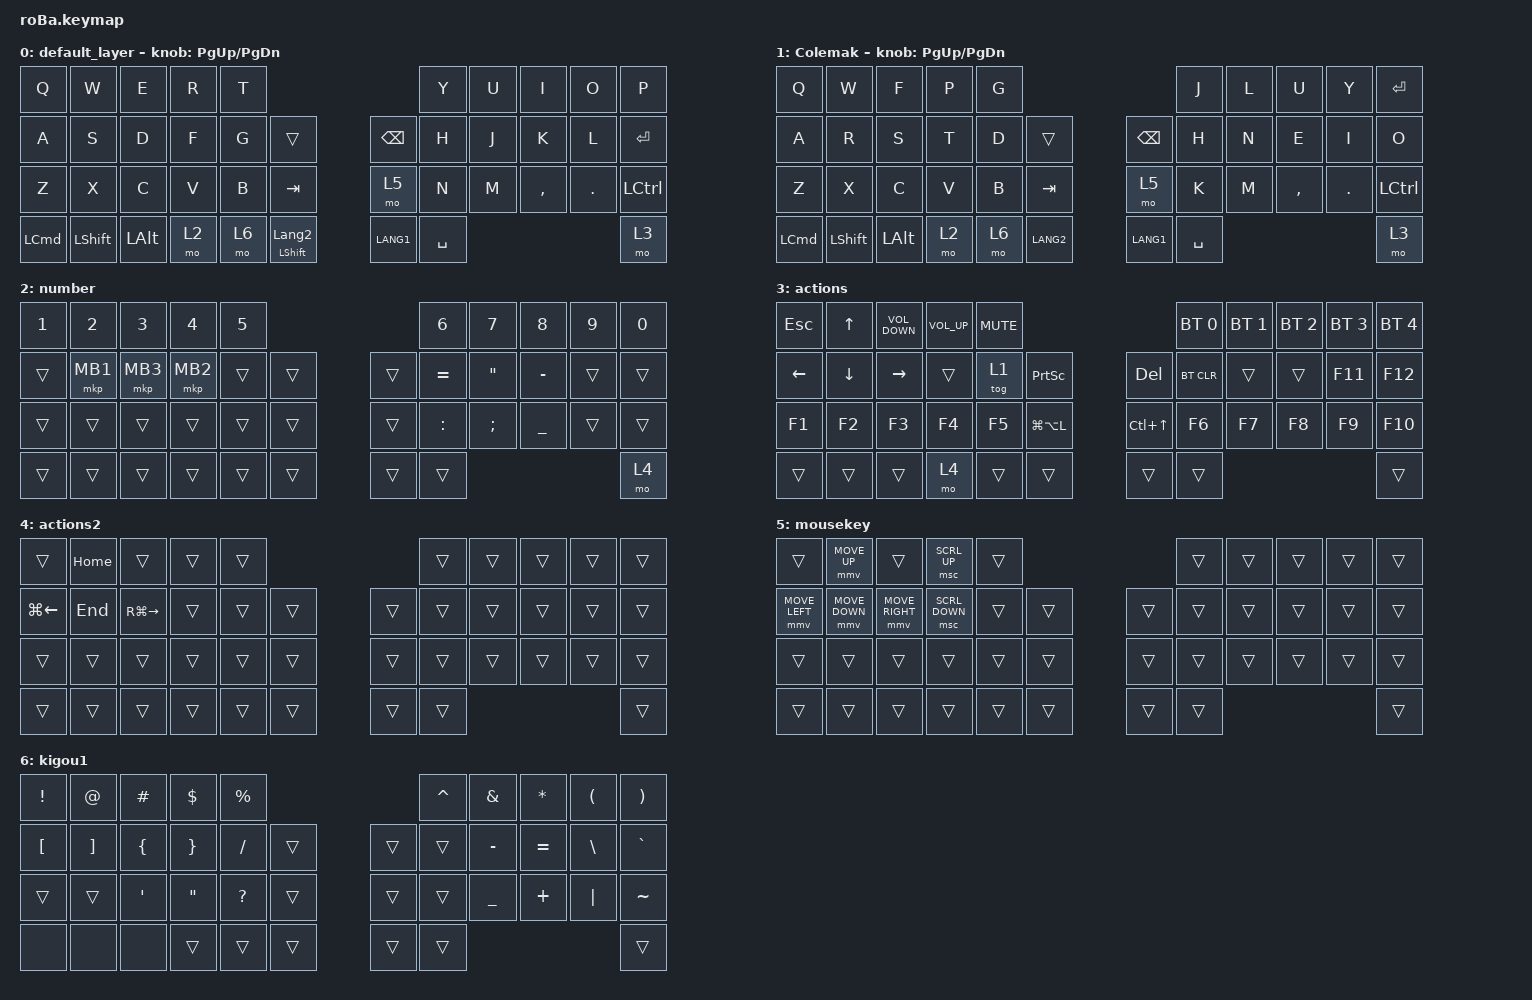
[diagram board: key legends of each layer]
#define ZMK_POINTING_DEFAULT_SCRL_VAL 20

#include <dt-bindings/zmk/mouse.h>
#include <behaviors.dtsi>
#include <dt-bindings/zmk/bt.h>
#include <dt-bindings/zmk/keys.h>
#include <dt-bindings/zmk/pointing.h>

#define MOUSE 99
#define SCROLL 99
#define NUM 99

&mt {
    flavor = "balanced";
    quick-tap-ms = <0>;
};

/ {
    combos { compatible = "zmk,combos"; };

    macros {
        to_layer_0: to_layer_0 {
            compatible = "zmk,behavior-macro-one-param";
            #binding-cells = <1>;
            bindings = <&to 0 &macro_param_1to1 &kp MACRO_PLACEHOLDER>;
            label = "TO_LAYER_0";
        };
    };

    behaviors {
        lt_to_layer_0: lt_to_layer_0 {
            compatible = "zmk,behavior-hold-tap";
            label = "LAYER_TAP_TO_0";
            bindings = <&mo>, <&to_layer_0>;

            #binding-cells = <2>;
            tapping-term-ms = <200>;
        };

        inc_dec_msc: inc_dec_msc {
            compatible = "zmk,behavior-sensor-rotate-var";
            label = "INC_DEC_MSC";
            #sensor-binding-cells = <2>;
            bindings = <&msc>, <&msc>;

            tap-ms = <0>;
        };
    };

    keymap {
        compatible = "zmk,keymap";

        default_layer {
            bindings = <
&kp Q             &kp W           &kp E         &kp R  &kp T                                                &kp Y      &kp U  &kp I      &kp O       &kp P
&kp A             &kp S           &kp D         &kp F  &kp G  &trans                         &kp BACKSPACE  &kp H      &kp J  &kp K      &kp L       &kp ENTER
&kp Z             &kp X           &kp C         &kp V  &kp B  &kp TAB                        &mo 5          &kp N      &kp M  &kp COMMA  &kp PERIOD  &kp LCTRL
&kp LEFT_COMMAND  &kp LEFT_SHIFT  &kp LEFT_ALT  &mo 2  &mo 6  &mt LEFT_SHIFT LANGUAGE_2      &kp LANG1      &kp SPACE                                &mo 3
            >;

            sensor-bindings = <&inc_dec_kp PAGE_UP PAGE_DOWN>;
        };

        Colemak {
            bindings = <
&kp Q             &kp W           &kp F         &kp P  &kp G                                &kp J      &kp L  &kp U      &kp Y       &kp ENTER
&kp A             &kp R           &kp S         &kp T  &kp D  &trans         &kp BACKSPACE  &kp H      &kp N  &kp E      &kp I       &kp O
&kp Z             &kp X           &kp C         &kp V  &kp B  &kp TAB        &mo 5          &kp K      &kp M  &kp COMMA  &kp PERIOD  &kp LCTRL
&kp LEFT_COMMAND  &kp LEFT_SHIFT  &kp LEFT_ALT  &mo 2  &mo 6  &kp LANG2      &kp LANG1      &kp SPACE                                &mo 3
            >;

            sensor-bindings = <&inc_dec_kp PAGE_UP PAGE_DOWN>;
        };

        number {
            bindings = <
&kp NUMBER_1  &kp NUMBER_2  &kp NUMBER_3  &kp NUMBER_4  &kp N5                      &kp NUMBER_6  &kp N7             &kp N8     &kp NUMBER_9  &kp NUMBER_0
&trans        &mkp MB1      &mkp MB3      &mkp MB2      &trans  &trans      &trans  &kp EQUAL     &kp DOUBLE_QUOTES  &kp MINUS  &trans        &trans
&trans        &trans        &trans        &trans        &trans  &trans      &trans  &kp COLON     &kp SEMI           &kp UNDER  &trans        &trans
&trans        &trans        &trans        &trans        &trans  &trans      &trans  &trans                                                    &mo 4
            >;
        };

        actions {
            bindings = <
&kp ESC         &kp UP_ARROW    &kp C_VOLUME_DOWN  &kp C_VOLUME_UP  &kp K_MUTE                                       &bt BT_SEL 0  &bt BT_SEL 1  &bt BT_SEL 2  &bt BT_SEL 3  &bt BT_SEL 4
&kp LEFT_ARROW  &kp DOWN_ARROW  &kp RIGHT          &trans           &tog 1      &kp PSCRN          &kp DELETE        &bt BT_CLR    &trans        &trans        &kp F11       &kp F12
&kp F1          &kp F2          &kp F3             &kp F4           &kp F5      &kp LG(LA(L))      &kp LC(UP_ARROW)  &kp F6        &kp F7        &kp F8        &kp F9        &kp F10
&trans          &trans          &trans             &mo 4            &trans      &trans             &trans            &trans                                                  &trans
            >;
        };

        actions2 {
            bindings = <
&trans              &kp HOME  &trans         &trans  &trans                      &trans  &trans  &trans  &trans  &trans
&kp LG(LEFT_ARROW)  &kp END   &kp RG(RIGHT)  &trans  &trans  &trans      &trans  &trans  &trans  &trans  &trans  &trans
&trans              &trans    &trans         &trans  &trans  &trans      &trans  &trans  &trans  &trans  &trans  &trans
&trans              &trans    &trans         &trans  &trans  &trans      &trans  &trans                          &trans
            >;
        };

        mousekey {
            bindings = <
&trans          &mmv MOVE_UP    &trans           &msc SCRL_UP    &trans                      &trans  &trans  &trans  &trans  &trans
&mmv MOVE_LEFT  &mmv MOVE_DOWN  &mmv MOVE_RIGHT  &msc SCRL_DOWN  &trans  &trans      &trans  &trans  &trans  &trans  &trans  &trans
&trans          &trans          &trans           &trans          &trans  &trans      &trans  &trans  &trans  &trans  &trans  &trans
&trans          &trans          &trans           &trans          &trans  &trans      &trans  &trans                          &trans
            >;
        };

        kigou1 {
            bindings = <
&kp EXCLAMATION   &kp AT_SIGN        &kp HASH        &kp DOLLAR         &kp PERCENT                       &kp CARET  &kp AMPERSAND  &kp ASTERISK  &kp LEFT_PARENTHESIS  &kp RIGHT_PARENTHESIS
&kp LEFT_BRACKET  &kp RIGHT_BRACKET  &kp LEFT_BRACE  &kp RIGHT_BRACE    &kp SLASH     &trans      &trans  &trans     &kp MINUS      &kp EQUAL     &kp BACKSLASH         &kp GRAVE
&trans            &trans             &kp APOS        &kp DOUBLE_QUOTES  &kp QUESTION  &trans      &trans  &trans     &kp UNDER      &kp PLUS      &kp PIPE              &kp TILDE
&none             &none              &none           &trans             &trans        &trans      &trans  &trans                                                        &trans
            >;
        };
    };
};
